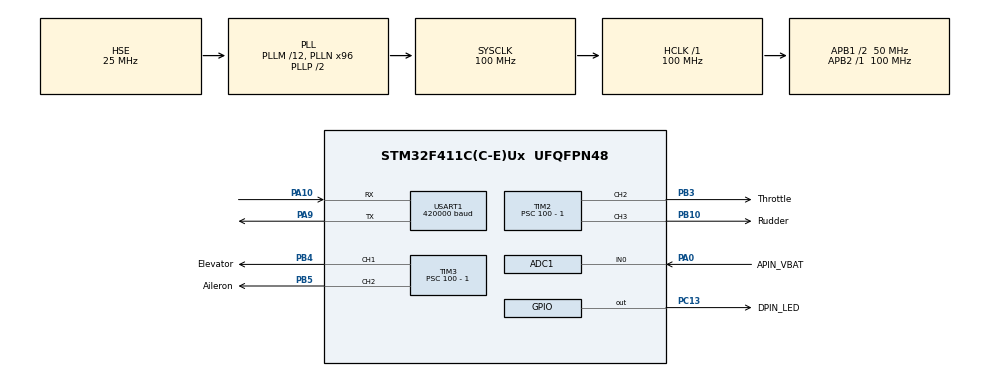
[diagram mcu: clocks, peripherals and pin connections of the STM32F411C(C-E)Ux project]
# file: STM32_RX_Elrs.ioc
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ADC1.Channel-0\#ChannelRegularConversion=ADC_CHANNEL_0
ADC1.ContinuousConvMode=ENABLE
ADC1.NbrOfConversionFlag=1
ADC1.Rank-0\#ChannelRegularConversion=1
ADC1.SamplingTime-0\#ChannelRegularConversion=ADC_SAMPLETIME_144CYCLES
ADC1.ScanConvMode=ENABLE
ADC1.master=1
Dma.Request0=USART1_RX
Dma.Request1=USART1_TX
Dma.USART1_RX.0.Direction=DMA_PERIPH_TO_MEMORY
Dma.USART1_RX.0.FIFOMode=DMA_FIFOMODE_DISABLE
Dma.USART1_RX.0.Instance=DMA2_Stream2
Dma.USART1_RX.0.MemDataAlignment=DMA_MDATAALIGN_BYTE
Dma.USART1_RX.0.MemInc=DMA_MINC_ENABLE
Dma.USART1_RX.0.Mode=DMA_CIRCULAR
Dma.USART1_RX.0.PeriphDataAlignment=DMA_PDATAALIGN_BYTE
Dma.USART1_RX.0.PeriphInc=DMA_PINC_DISABLE
Dma.USART1_RX.0.Priority=DMA_PRIORITY_HIGH
Dma.USART1_TX.1.Direction=DMA_MEMORY_TO_PERIPH
Dma.USART1_TX.1.FIFOMode=DMA_FIFOMODE_DISABLE
Dma.USART1_TX.1.Instance=DMA2_Stream7
Dma.USART1_TX.1.MemDataAlignment=DMA_MDATAALIGN_BYTE
Dma.USART1_TX.1.MemInc=DMA_MINC_ENABLE
Dma.USART1_TX.1.Mode=DMA_CIRCULAR
Dma.USART1_TX.1.PeriphDataAlignment=DMA_PDATAALIGN_BYTE
Dma.USART1_TX.1.PeriphInc=DMA_PINC_DISABLE
Dma.USART1_TX.1.Priority=DMA_PRIORITY_HIGH
Mcu.Family=STM32F4
<<<<<<< HEAD
=======
>>>>>>> baea64b (Update: CRSF parsing and telemetry improvments)
Mcu.Name=STM32F411C(C-E)Ux
Mcu.Package=UFQFPN48
<<<<<<< HEAD
=======
>>>>>>> baea64b (Update: CRSF parsing and telemetry improvments)
NVIC.DMA2_Stream2_IRQn=true\:0\:0\:false\:false\:true\:false\:true\:true
NVIC.DMA2_Stream7_IRQn=true\:0\:0\:false\:false\:true\:false\:true\:true
NVIC.PriorityGroup=NVIC_PRIORITYGROUP_4
NVIC.USART1_IRQn=true\:0\:0\:false\:false\:true\:true\:true\:true
PA0-WKUP.GPIO_Label=APIN_VBAT
PA0-WKUP.Signal=ADCx_IN0
PA10.Mode=Asynchronous
PA10.Signal=USART1_RX
PA13.Mode=Serial_Wire
PA13.Signal=SYS_JTMS-SWDIO
PA14.Mode=Serial_Wire
PA14.Signal=SYS_JTCK-SWCLK
PA9.Mode=Asynchronous
PA9.Signal=USART1_TX
PB10.GPIO_Label=Rudder
PB10.Signal=S_TIM2_CH3
PB3.GPIO_Label=Throttle
PB3.Signal=S_TIM2_CH2
PB4.GPIO_Label=Elevator
PB4.Signal=S_TIM3_CH1
PB5.GPIO_Label=Aileron
PB5.Signal=S_TIM3_CH2
PC13-ANTI_TAMP.GPIO_Label=DPIN_LED
PC13-ANTI_TAMP.PinState=GPIO_PIN_SET
PC13-ANTI_TAMP.Signal=GPIO_Output
PH0\ -\ OSC_IN.Mode=HSE-External-Oscillator
PH0\ -\ OSC_IN.Signal=RCC_OSC_IN
PH1\ -\ OSC_OUT.Mode=HSE-External-Oscillator
PH1\ -\ OSC_OUT.Signal=RCC_OSC_OUT
ProjectManager.HeapSize=0x200
ProjectManager.StackSize=0x400
ProjectManager.TargetToolchain=STM32CubeIDE
RCC.48MHZClocksFreq_Value=50000000
RCC.AHBFreq_Value=100000000
RCC.APB1CLKDivider=RCC_HCLK_DIV2
RCC.APB1Freq_Value=50000000
RCC.APB1TimFreq_Value=100000000
RCC.APB2Freq_Value=100000000
RCC.APB2TimFreq_Value=100000000
RCC.CortexFreq_Value=100000000
RCC.HCLKFreq_Value=100000000
RCC.HSE_VALUE=25000000
RCC.HSI_VALUE=16000000
RCC.LSE_VALUE=32768
RCC.PLLM=12
RCC.PLLN=96
RCC.PLLSourceVirtual=RCC_PLLSOURCE_HSE
RCC.SYSCLKFreq_VALUE=100000000
RCC.SYSCLKSource=RCC_SYSCLKSOURCE_PLLCLK
RCC.VCOOutputFreq_Value=200000000
SH.ADCx_IN0.0=ADC1_IN0,IN0
SH.S_TIM2_CH2.0=TIM2_CH2,PWM Generation2 CH2
SH.S_TIM2_CH3.0=TIM2_CH3,PWM Generation3 CH3
SH.S_TIM3_CH1.0=TIM3_CH1,PWM Generation1 CH1
SH.S_TIM3_CH2.0=TIM3_CH2,PWM Generation2 CH2
TIM2.AutoReloadPreload=TIM_AUTORELOAD_PRELOAD_ENABLE
TIM2.Channel-PWM\ Generation2\ CH2=TIM_CHANNEL_2
TIM2.Channel-PWM\ Generation3\ CH3=TIM_CHANNEL_3
TIM2.Period=20000 - 1
TIM2.Prescaler=100 - 1
TIM3.AutoReloadPreload=TIM_AUTORELOAD_PRELOAD_ENABLE
TIM3.Channel-PWM\ Generation1\ CH1=TIM_CHANNEL_1
TIM3.Channel-PWM\ Generation2\ CH2=TIM_CHANNEL_2
TIM3.Period=20000 - 1
TIM3.Prescaler=100 - 1
TIM5.Period=0xffffffff
TIM5.Prescaler=50 - 1
USART1.BaudRate=420000
USART1.VirtualMode=VM_ASYNC
VP_TIM2_VS_ClockSourceINT.Mode=Internal
VP_TIM3_VS_ClockSourceINT.Mode=Internal
VP_TIM5_VS_ClockSourceINT.Mode=Internal
board=custom

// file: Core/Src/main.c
/* USER CODE BEGIN Header */
/**
  ******************************************************************************
  * @file           : main.c
  * @brief          : Main program body
  ******************************************************************************
  * @attention
  *
  * Copyright (c) 2025 STMicroelectronics.
  * All rights reserved.
  *
  * This software is licensed under terms that can be found in the LICENSE file
  * in the root directory of this software component.
  * If no LICENSE file comes with this software, it is provided AS-IS.
  *
  ******************************************************************************
  */
/* USER CODE END Header */
#include "main.h"
#include "adc.h"
#include "dma.h"
#include "i2c.h"
#include "tim.h"
#include "usart.h"
#include "gpio.h"

/* USER CODE BEGIN Includes */

#include "crsf_serial.h"
#include <stdio.h>
#include "servo_control.h"
#include "mpu9250.h"
#include "neo6m.h"

/* USER CODE END Includes */

/* USER CODE BEGIN PTD */

extern UART_HandleTypeDef huart1;
extern UART_HandleTypeDef huart6;
extern I2C_HandleTypeDef hi2c1;

/* USER CODE END PTD */

/* USER CODE BEGIN PD */
// Voltage monitoring
#define R1		10000.0f	// Ohm
#define R2		2200.0f	// Ohm
#define VREF	3.3f	// Reference voltage of ADC
#define ADC_MAX_VALUE      4095.0f	// 12-bit ADC
float batteryVoltage = 0;
uint16_t millivolts = 0;

uint16_t voltage_dV = 0;

uint8_t sendStatus = 6;
uint32_t send_counter = 0;
uint32_t error_counter = 0;

volatile uint8_t raw_type;
volatile uint8_t struct_type;

/* USER CODE END PD */

/* USER CODE BEGIN PV */

// Global CRSF serial instance
CrsfSerial_HandleTypeDef hcrsf;

uint16_t ADC_BUF[1];
uint32_t lastPacketMillis = 0;
<<<<<<< HEAD

uint32_t sendTiming;
<<<<<<< HEAD
uint32_t now;

//Timing variables for the main loop ---
uint32_t lastBatterySendTime = 0;
const uint32_t BATTERY_SEND_INTERVAL_MS = 40; // Send every 1 second
=======

//Timing variables for the main loop ---
uint32_t lastBatterySendTime = 0;
const uint32_t BATTERY_SEND_INTERVAL_MS = 500; // Send every 1 second
>>>>>>> 363fa39 (telemetry send upload)
=======
uint32_t now = 0;
>>>>>>> baea64b (Update: CRSF parsing and telemetry improvments)

#define UART_RX_BUFFER_SIZE 128
uint8_t  uartRxBuf[UART_RX_BUFFER_SIZE];
uint16_t oldPos = 0;

bool failsafeActive = false;
int lastValidChannels[CRSF_NUM_CHANNELS];

<<<<<<< HEAD
volatile bool telemetry_window_open = false;
volatile uint32_t telemetry_window_deadline = 0;
#define TELEMETRY_PERIOD_US   4000   // 4ms
static uint32_t lastTelemetryUs = 0;

=======
>>>>>>> 363fa39 (telemetry send upload)
float A_X, A_Y, A_Z, G_X, G_Y, G_Z, TEMPERATUE;
float Roll, Pitch, Yaw;

uint8_t status_i2c;

// GPS
#define RX_BUF_SIZE 256

uint8_t rx_dma_buf[RX_BUF_SIZE];
uint8_t rx_data[RX_BUF_SIZE];
uint8_t Num_Sats;
uint8_t Fix;
uint16_t old_pos = 0;
float Latitude, Longitude, Altitude, Speed;

NEO6M_Data_t *gps;

/* USER CODE END PV */

void SystemClock_Config(void);

/* USER CODE BEGIN 0 */

// Called when a valid RC packet is received
void onRCFrameReceived(const int *rcChannels) {
    lastPacketMillis = HAL_GetTick();  // Timestamp of last valid packet
    failsafeActive = false;

    // Store last valid RC values
    for (int i = 0; i < CRSF_NUM_CHANNELS; i++) {
        lastValidChannels[i] = rcChannels[i];
    }

    // Update servos here with lastValidChannels
    ServoControl_Update(lastValidChannels);
}
// This is the function that will be registered as the callback.
// Its name and signature MUST match the pointer in the struct.
void onPacketChannelsReceived(void) {
	// The CRSF library has already updated hcrsf.channels with the new data.
	// We just need to use it.
	lastPacketMillis = HAL_GetTick(); failsafeActive = false;
	// The 'lastValidChannels' buffer might be redundant if you always
	// read from hcrsf.channels, but it's good practice for failsafe.
	for (int i = 0; i < CRSF_NUM_CHANNELS; i++) {
		lastValidChannels[i] = hcrsf.channels[i];
	}
	// Update your servos with the fresh data from the handle.
	ServoControl_Update(hcrsf.channels);
}

// This function is ONLY called by the CRSF library when the link goes down.
void onLinkDown() {
	failsafeActive = true; // Add code here to handle failsafe, e.g., center servos.
	  // Activate failsafe behavior: hold last known values
	  ServoControl_Update(lastValidChannels);
}

// This function packs battery
/*void onPacketBatterysend(){

}*/

// Clalculating battery voltage
float GetBatteryVoltage(void) {
	uint16_t adc_value = ADC_BUF[0];
	// Convert ADC reading to measured divider voltage
	float vout = (adc_value * VREF) / ADC_MAX_VALUE;

	// Claculate battery voltage
	float vbat = vout * ((R1 + R2) / R2);

	return vbat;
}

// This function should use the library's queue, not transmit directly.
uint8_t sendBatteryTelemetry(uint16_t voltage_01V) {

	uint8_t payload[8] = {0}; // Initialize to zero

    // 1. Voltage (Big Endian) - e.g., 126 for 12.6V
    payload[0] = (voltage_01V >> 8) & 0xFF;
    payload[1] = voltage_01V & 0xFF;

    // 2. Current (0.1A units) - Sending 0
    payload[2] = 0;
    payload[3] = 0;

    // 3. Fuel (3 bytes for mAh) - Sending 0
    payload[4] = 0;
    payload[5] = 0;
    payload[6] = 0;

    // 4. Remaining Percentage
    payload[7] = 0;

	// Queue the packet for transmission.
	return CrsfSerial_QueuePacket(&hcrsf, CRSF_FRAMETYPE_BATTERY_SENSOR, payload, sizeof(payload));
}

/*static uint8_t sendBatteryTelemetry(float voltage, float current, float capacity, float remaining){
	crsf_sensor_battery_t crsfBat = {0};

	// Values are MSB first (big Endian)
	crsfBat.voltage = htobe32((uint32_t)(voltage*10.0));	// Volts
	crsfBat.current = htobe32((uint32_t)(current*10.0));	// Amps
	crsfBat.capacity = htobe32((uint32_t)(capacity)) << 8;	//mAh (with this implemetation max capacity is 65535mAh)
	crsfBat.remaining = (uint32_t)(remaining);				// Percent
	// Queue the packet for transmission
	return CrsfSerial_QueuePacket(&hcrsf, CRSF_FRAMETYPE_BATTERY_SENSOR, &crsfBat, sizeof(crsfBat));
<<<<<<< HEAD
}
<<<<<<< HEAD

static inline uint32_t micros(void)
{
    return DWT->CYCCNT / (HAL_RCC_GetHCLKFreq() / 1000000);
}
=======
>>>>>>> 363fa39 (telemetry send upload)
=======
}*/
>>>>>>> baea64b (Update: CRSF parsing and telemetry improvments)

uint32_t micros(void)
{
    return __HAL_TIM_GET_COUNTER(&htim5);
}
/* USER CODE END 0 */

int main(void)
{

  /* MCU Configuration--------------------------------------------------------*/

  /* Reset of all peripherals, Initializes the Flash interface and the Systick. */
  HAL_Init();

  /* Configure the system clock */
  SystemClock_Config();

  /* Initialize all configured peripherals */
  MX_GPIO_Init();
  MX_DMA_Init();
  MX_USART1_UART_Init();
  MX_ADC1_Init();
  MX_TIM2_Init();
  MX_TIM3_Init();
  MX_I2C1_Init();
  MX_USART6_UART_Init();
  MX_TIM5_Init();
  /* USER CODE BEGIN 2 */

  HAL_TIM_Base_Start(&htim5);

  ServoControl_Init();

  // Initialize CRSF with UART and baud rate
  CrsfSerial_Init(&hcrsf, &huart1, CRSF_BAUDRATE);
  // *** REGISTER THE CALLBACKS ***
  //hcrsf.onRCFrameReceived = onRCFrameReceived;
  hcrsf.onPacketChannels = onPacketChannelsReceived;
//  hcrsf.onPacketBattery = onPacketBatterysend;
  hcrsf.onLinkDown = onLinkDown;

  //CrsfSerial_Begin(&hcrsf, CRSF_BAUDRATE);

  HAL_UART_Receive_DMA(&huart1, uartRxBuf, UART_RX_BUFFER_SIZE);

  __HAL_UART_ENABLE_IT(&huart1, UART_IT_IDLE);

  // Strating ADC
  HAL_ADC_Start_DMA(&hadc1, (uint32_t *)ADC_BUF, 1);

<<<<<<< HEAD
  // Enable DWT Cycle Counter
  CoreDebug->DEMCR |= CoreDebug_DEMCR_TRCENA_Msk; // Enable access to DWT
  DWT->CYCCNT = 0;                                // Reset the counter
  DWT->CTRL |= DWT_CTRL_CYCCNTENA_Msk;            // Enable the cycle counter

=======
>>>>>>> 363fa39 (telemetry send upload)
  status_i2c = mpu_init(&hi2c1);

  if (status_i2c == 1) {
	  HAL_GPIO_TogglePin(DPIN_LED_GPIO_Port, DPIN_LED_Pin);
	  HAL_Delay(250);
	  HAL_GPIO_TogglePin(DPIN_LED_GPIO_Port, DPIN_LED_Pin);
	  HAL_Delay(500);
	  HAL_GPIO_TogglePin(DPIN_LED_GPIO_Port, DPIN_LED_Pin);
	  HAL_Delay(250);
	  HAL_GPIO_TogglePin(DPIN_LED_GPIO_Port, DPIN_LED_Pin);

	  MPU_calibrateGyro(&hi2c1, 1500);
  } else {
	  HAL_GPIO_WritePin(DPIN_LED_GPIO_Port, DPIN_LED_Pin, GPIO_PIN_SET);
  }

//  NEO6M_Init(&huart6);

  // Start UART DMA reception in circular mode for NEO
//  HAL_UART_Receive_DMA(&huart6, rx_dma_buf, RX_BUF_SIZE);
//  __HAL_UART_ENABLE_IT(&huart6, UART_IT_IDLE);

  /* USER CODE END 2 */

  /* Infinite loop */
  while (1)
  {

    /* USER CODE BEGIN 3 */

<<<<<<< HEAD
<<<<<<< HEAD
//	  sendTiming = HAL_GetTick();

	  now = micros();

	  CrsfSerial_Loop(&hcrsf);

/*	if (telemetry_window_open &&
		(int32_t)(now - telemetry_window_deadline) >= 0)
	{
		telemetry_window_open = false;
	}*/
    /* Telemetry conditions:
       - RX recently spoke (window open)
       - link is up
       - UART idle
       - 4ms elapsed
    */
    if (telemetry_window_open &&
        hcrsf.linkIsUp &&
        (int32_t)(now - lastTelemetryUs) >= TELEMETRY_PERIOD_US)
    {
        lastTelemetryUs += TELEMETRY_PERIOD_US;

		batteryVoltage = GetBatteryVoltage(); // e.g., returns 12.6f
		millivolts = batteryVoltage * 1000; // Convert to mV
        voltage_dV = millivolts / 100; // CRSF uses 0.1V units
        sendStatus = sendBatteryTelemetry(
        		batteryVoltage,
            0.0f, 0.0f, 0.0f
        );
        telemetry_window_open = false;
    }

      // ====================================================================
      //  PHASE 2: Telemetry Data Queuing
      // ====================================================================

	  // Check if it's time to send the battery voltage
/*	  if ((int32_t)(sendTiming - lastBatterySendTime) >= BATTERY_SEND_INTERVAL_MS){
		  lastBatterySendTime += BATTERY_SEND_INTERVAL_MS;
		  if (CrsfSerial_IsLinkUp(&hcrsf)) {
			  // Get voltage and queue the packet for sending
			  // The CrsfSerial_Loop will handle the actual transmission when it can.
			  batteryVoltage = GetBatteryVoltage(); // e.g., returns 12.6f
			  millivolts = batteryVoltage * 1000; // Convert to mV
	          voltage_dV = millivolts / 100; // CRSF uses 0.1V units

	          sendStatus = sendBatteryTelemetry(batteryVoltage, 3.0, 4.0, 5.0);
		  }
	  }*/
//	  if ((CrsfSerial_IsLinkUp(&hcrsf)) && (HAL_GetTick() - lastBatterySendTime >= BATTERY_SEND_INTERVAL_MS)) {
//	  //if (!CrsfSerial_IsLinkUp(&hcrsf)) {
//		  lastBatterySendTime = HAL_GetTick(); // Update the timestamp
//		  // Get voltage and queue the packet for sending
//		  // The CrsfSerial_Loop will handle the actual transmission when it can.
//		  batteryVoltage = GetBatteryVoltage(); // e.g., returns 12.6f
//		  millivolts = batteryVoltage * 1000; // Convert to mV
//          voltage_dV = millivolts / 100; // CRSF uses 0.1V units
//
//          sendStatus = sendBatteryTelemetry(batteryVoltage, 3.0, 4.0, 5.0);
//	  }

=======
	  sendTiming = HAL_GetTick();
=======
	  now = micros();
>>>>>>> baea64b (Update: CRSF parsing and telemetry improvments)

	  CrsfSerial_Loop(&hcrsf);

	  if (hcrsf.rc_packet_count >= 32){
		  // Only send if the RX has opened the window (avoiding collisions)
		   if (hcrsf.telemetry_window_open && hcrsf.linkIsUp) {
				batteryVoltage = GetBatteryVoltage();

				// CRSF wants 0.1V units. 12.6V becomes 126.
				voltage_dV = (uint16_t)(batteryVoltage * 10.0f);

				sendStatus = sendBatteryTelemetry(voltage_dV);

				if (sendStatus == HAL_OK){
					send_counter++;
					// RESET: Reset the counter and close the window
					hcrsf.rc_packet_count = 0;
					hcrsf.telemetry_window_open = false;
				}
			}else {
		        /* Safety: If we reached 128 packets but the window isn't open,
		           it might mean we missed the sync. You could choose to reset
		           the counter anyway or wait for the next RC packet.
		        */
				hcrsf.rc_packet_count = 0;
		    }
		}

<<<<<<< HEAD
      // ====================================================================
      //  PHASE 3: Telemetry Response to Polls
      // ====================================================================
      // This flag is set by Crsf_ProcessByte when a poll packet is received.
/*      if (crsf_handle_rx.telemetry_poll_received) {
          crsf_handle_rx.telemetry_poll_received = false; // Clear the flag

          // Check if there's a telemetry packet queued and the UART is not busy.
          if (!crsf_handle_rx.tx_busy && crsf_handle_rx.telemetry_tx_len > 0) {
              // Transmit the queued telemetry packet.
              Crsf_TransmitPacket(&crsf_handle_rx, crsf_handle_rx.telemetry_tx_buffer, crsf_handle_rx.telemetry_tx_len);
              crsf_handle_rx.telemetry_tx_len = 0; // Clear the queue after sending
          }
      }*/
>>>>>>> 363fa39 (telemetry send upload)
=======
>>>>>>> baea64b (Update: CRSF parsing and telemetry improvments)
//	  if(sendStatus == 0) {
//		  HAL_GPIO_TogglePin(DPIN_LED_GPIO_Port, DPIN_LED_Pin);
//	  }

	  if(sendStatus == 0) {
		  MPU_calcAttitude(&hi2c1);

		  Roll = attitude.r;
		  Pitch = attitude.p;
		  Yaw = attitude.y;
	  }

//	  gps = NEO6M_GetData();
//	  if (gps->fix)
//	  {
//		  Fix = gps->fix;
//		  Latitude = gps->latitude;
//		  Longitude = gps->longitude;
//		  Altitude = gps->altitude;
//		  Speed = gps->speed;
//		  Num_Sats = gps->num_sats;
//	  }

  }
  /* USER CODE END 3 */
}

void SystemClock_Config(void)
{
  RCC_OscInitTypeDef RCC_OscInitStruct = {0};
  RCC_ClkInitTypeDef RCC_ClkInitStruct = {0};

  /** Configure the main internal regulator output voltage
  */
  __HAL_RCC_PWR_CLK_ENABLE();
  __HAL_PWR_VOLTAGESCALING_CONFIG(PWR_REGULATOR_VOLTAGE_SCALE1);

  /** Initializes the RCC Oscillators according to the specified parameters
  * in the RCC_OscInitTypeDef structure.
  */
  RCC_OscInitStruct.OscillatorType = RCC_OSCILLATORTYPE_HSE;
  RCC_OscInitStruct.HSEState = RCC_HSE_ON;
  RCC_OscInitStruct.PLL.PLLState = RCC_PLL_ON;
  RCC_OscInitStruct.PLL.PLLSource = RCC_PLLSOURCE_HSE;
  RCC_OscInitStruct.PLL.PLLM = 12;
  RCC_OscInitStruct.PLL.PLLN = 96;
  RCC_OscInitStruct.PLL.PLLP = RCC_PLLP_DIV2;
  RCC_OscInitStruct.PLL.PLLQ = 4;
  if (HAL_RCC_OscConfig(&RCC_OscInitStruct) != HAL_OK)
  {
    Error_Handler();
  }

  /** Initializes the CPU, AHB and APB buses clocks
  */
  RCC_ClkInitStruct.ClockType = RCC_CLOCKTYPE_HCLK|RCC_CLOCKTYPE_SYSCLK
                              |RCC_CLOCKTYPE_PCLK1|RCC_CLOCKTYPE_PCLK2;
  RCC_ClkInitStruct.SYSCLKSource = RCC_SYSCLKSOURCE_PLLCLK;
  RCC_ClkInitStruct.AHBCLKDivider = RCC_SYSCLK_DIV1;
  RCC_ClkInitStruct.APB1CLKDivider = RCC_HCLK_DIV2;
  RCC_ClkInitStruct.APB2CLKDivider = RCC_HCLK_DIV1;

  if (HAL_RCC_ClockConfig(&RCC_ClkInitStruct, FLASH_LATENCY_3) != HAL_OK)
  {
    Error_Handler();
  }
}

void Error_Handler(void)
{
  __disable_irq();
  while (1)
  {
  }
}
